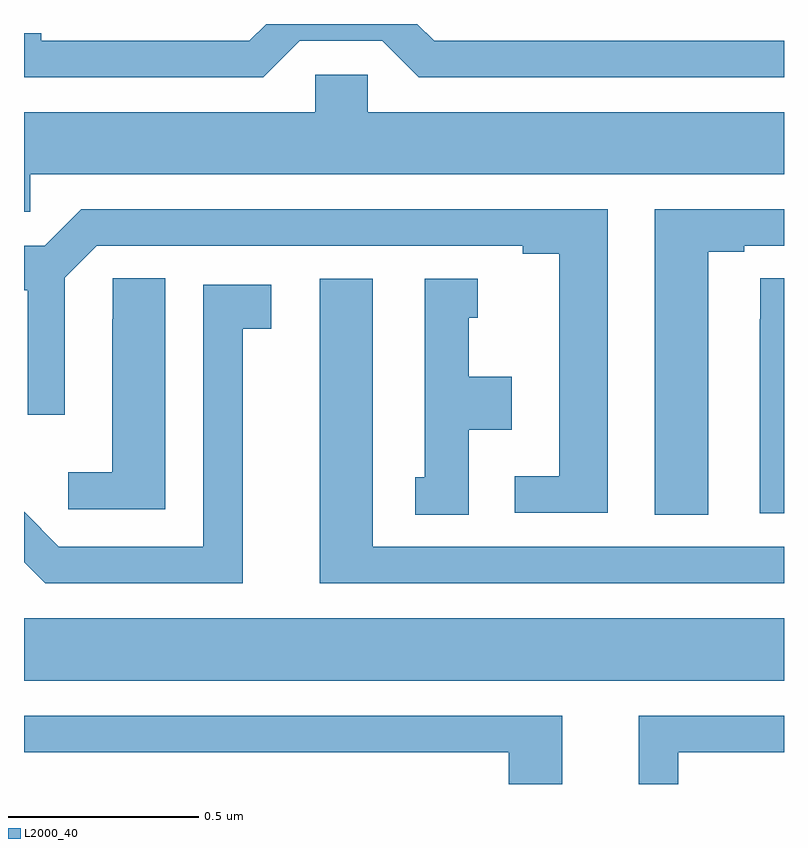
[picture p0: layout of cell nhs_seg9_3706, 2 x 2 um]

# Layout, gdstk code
import gdstk
lib = gdstk.Library(unit=1e-6, precision=1e-09)
def R(c, l, rs):  # rectangles x0, y0, x1, y1
    for r in rs: c.add(gdstk.rectangle(r[:2], r[2:], *l))
def P(c, l, *ps):  # polygons
    for p in ps: c.add(gdstk.Polygon(p, *l))
L2000_40 = (2000, 40)

nhs_seg9_3706 = lib.new_cell('nhs_seg9_3706')
R(nhs_seg9_3706, L2000_40, [(157,1177.772,159,1177.936)])
P(nhs_seg9_3706, L2000_40, [(157.725,1179.456),(157.943,1179.456),(158.039,1179.36),(159,1179.36),(159,1179.456),(158.079,1179.456),(158.035,1179.5),(157.637,1179.5),(157.593,1179.456),(157.045,1179.456),(157.045,1179.476),(157,1179.476),(157,1179.36),(157.629,1179.36)],
  [(157.017,1179.104),(159,1179.104),(159,1179.268),(157.905,1179.268),(157.905,1179.366),(157.767,1179.366),(157.767,1179.268),(157,1179.268),(157,1179.006),(157.017,1179.006)],
  [(158.8,1178.901),(158.896,1178.901),(158.896,1178.916),(159,1178.916),(159,1179.012),(158.66,1179.012),(158.66,1178.209),(158.8,1178.209)],
  [(158.536,1179.012),(157.151,1179.012),(157.055,1178.916),(157,1178.916),(157,1178.8),(157.01,1178.8),(157.01,1178.472),(157.107,1178.472),(157.107,1178.832),(157.191,1178.916),(158.312,1178.916),(158.312,1178.896),(158.408,1178.896),(158.408,1178.31),(158.292,1178.31),(158.292,1178.214),(158.536,1178.214)],
  [(157.372,1178.831),(157.233,1178.831),(157.233,1178.723),(157.232,1178.723),(157.232,1178.32),(157.116,1178.32),(157.116,1178.223),(157.372,1178.223)],
  [(159,1178.831),(158.937,1178.831),(158.937,1178.723),(158.936,1178.723),(158.936,1178.213),(159,1178.213)],
  [(159,1178.124),(157.918,1178.124),(157.918,1178.83),(157.778,1178.83),(157.778,1178.028),(159,1178.028)],
  [(158.17,1178.432),(158.284,1178.432),(158.284,1178.572),(158.17,1178.572),(158.17,1178.727),(158.194,1178.727),(158.194,1178.83),(158.054,1178.83),(158.054,1178.307),(158.03,1178.307),(158.03,1178.209),(158.17,1178.209)],
  [(157.576,1178.698),(157.651,1178.698),(157.651,1178.814),(157.472,1178.814),(157.472,1178.124),(157.092,1178.124),(157,1178.216),(157,1178.084),(157.056,1178.028),(157.576,1178.028)],
  [(158.722,1177.584),(159,1177.584),(159,1177.68),(158.618,1177.68),(158.618,1177.5),(158.722,1177.5)],
  [(158.416,1177.68),(157,1177.68),(157,1177.584),(158.276,1177.584),(158.276,1177.5),(158.416,1177.5)])

lib.write_gds('nhs_seg9_3706.gds')
